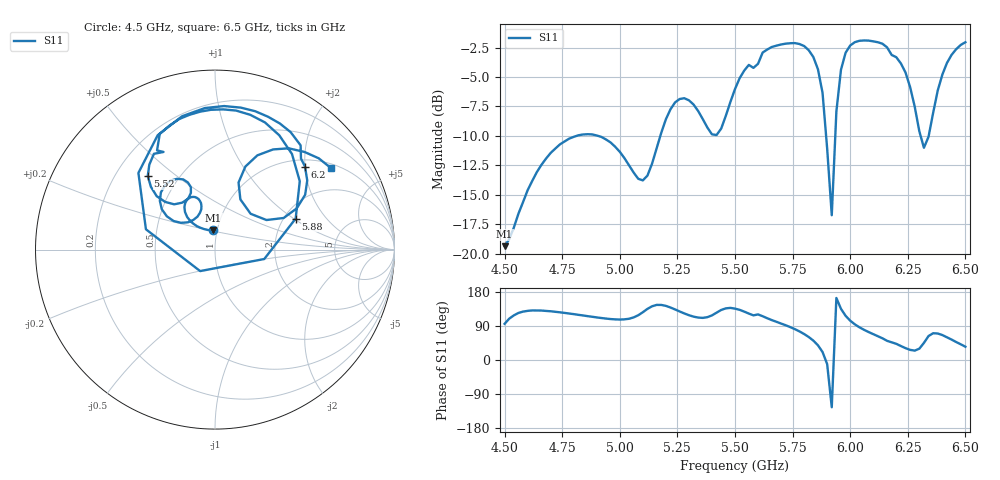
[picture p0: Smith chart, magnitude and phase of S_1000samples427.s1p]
! TOUCHSTONE file generated by CST MICROWAVE STUDIO
! Date and time: Fri Oct 28 03:36:00 2022
! Project name: L.cst
! Parameters = {Di=1.27; Epsilon_r=1.56; InnerDiameter=1.27; Length=2; Lf=10; Lg=60; OuterConductorThickness=0.2921; OuterDiameter=3.6; Wf=3; Wp=41.2; de=1.5; df=6.8; g=0.8; gx=1.90827; gy=0.888107; h=2.34; hf=1.524; px=14.5161; py=11.1278; w=9.7; wx=12.6078; wy=10.2397}
! Header version: 2018
! Port assignment regex: !\s*Touchstone port\s*([0-9]+)\s*=\s*(CST MWS port|CST DS port)\s*([0-9]+|Zmin|Zmax)\s*\(\"(.*)\"\)(\s*mode\s*([0-9]+))?.*
! Touchstone port assignment:
! Touchstone port 1 = CST MWS port 1 ("")
# GHz S DB R 50
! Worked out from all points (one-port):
!   101 points, 4.5 GHz to 6.5 GHz, reference 50 ohm
!   lowest |S11| = -19.4 dB at 4.5 GHz (marker M1), VSWR 1.24, Z = 47.9 + j10.4 ohm
!   |S11| at or under -10 dB: start of sweep to 4.813 GHz; 4.905 GHz to 5.176 GHz (270.5 MHz wide, 5.37 % of centre); 5.895 GHz to 5.935 GHz (39.87 MHz wide, 0.674 % of centre) (the widest 3 of 4)
!   S11 on the Smith chart (normalised r, x): 4.5 GHz: 0.96, +0.21; 5.52 GHz: 0.34, +0.40; 5.88 GHz: 2.31, +1.04; 6.2 GHz: 1.15, +2.00; 6.5 GHz: 1.14, +2.75
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4.5  -19.37 95.5
4.64  -13.07 130.6
4.76  -10.48 124.3
5  -11.36 106.7
5.1  -13.78 126.1
5.16  -11.05 145.4
5.26  -6.87 128.0
5.38  -9.29 113.0
5.44  -9.38 132.0
5.5  -6.02 135.6
5.52  -5.10 132.4
5.62  -2.92 115.5
5.76  -2.12 81.4
5.82  -2.72 60.7
5.88  -6.35 21.1
5.9  -11.08 -10.8
5.92  -16.74 -124.7
5.94  -7.94 163.6
5.96  -4.38 135.0
6  -2.32 103.8
6.08  -1.91 73.8
6.16  -2.48 50.6
6.2  -3.32 42.7
6.26  -5.85 26.8
6.32  -11.01 45.1
6.36  -8.05 70.7
6.42  -3.81 59.9
6.5  -2.05 35.0
